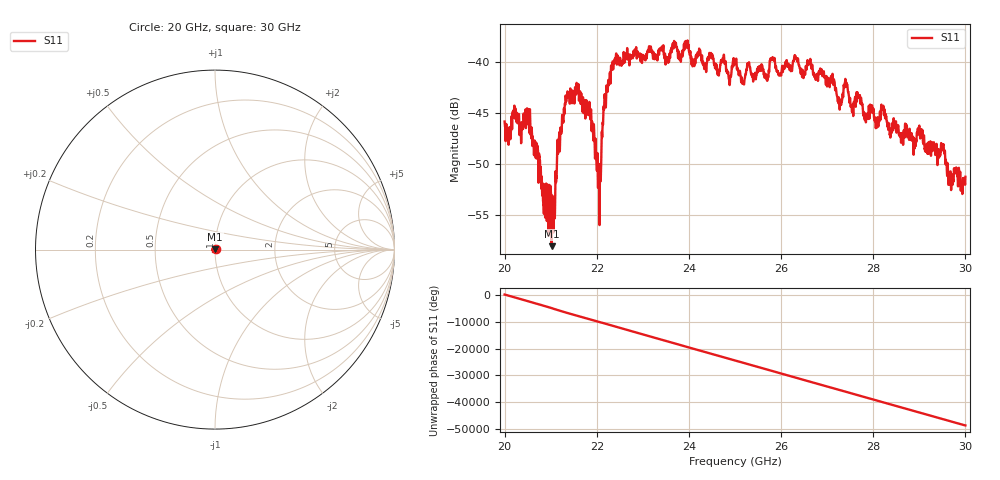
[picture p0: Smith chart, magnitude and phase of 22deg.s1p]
#  HZ  S  RI  R  50.00
! Rohde & Schwarz ZVA40 4Ports - Version 3.90 - 1145.1110k42 SN: 100403
! Date: 2023-10-03 12:46:41
! Measurement: S12
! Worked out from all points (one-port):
!   5001 points, 20 GHz to 30 GHz, reference 50 ohm
!   lowest |S11| = -58.0 dB at 21.02 GHz (marker M1), VSWR 1.00, Z = 50.1 + j0.101 ohm
!   |S11| at or under -10 dB: start of sweep to end of sweep
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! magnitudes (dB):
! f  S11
! 20 GHz  -45.8
! 20.52 GHz  -44.8
! 20.84 GHz  -53.9
! 21.02 GHz  -58.0
! 21.06 GHz  -55.8
! 21.15 GHz  -47.6
! 21.25 GHz  -45.2
! 21.36 GHz  -43.5
! 21.59 GHz  -42.6
! 21.87 GHz  -45.5
! 22.05 GHz  -51.7
! 22.2 GHz  -44.0
! 22.36 GHz  -40.7
! 22.5 GHz  -39.8
! 23.75 GHz  -38.8
! 24.75 GHz  -39.8
! 24.87 GHz  -41.7
! 25 GHz  -40.0
! 25.17 GHz  -41.9
! 26.25 GHz  -40.3
! 27.12 GHz  -41.2
! 27.27 GHz  -44.6
! 27.41 GHz  -42.2
! 27.5 GHz  -43.6
! 28.75 GHz  -46.7
! 29.51 GHz  -48.3
! 29.68 GHz  -50.7
! 30 GHz  -51.2
